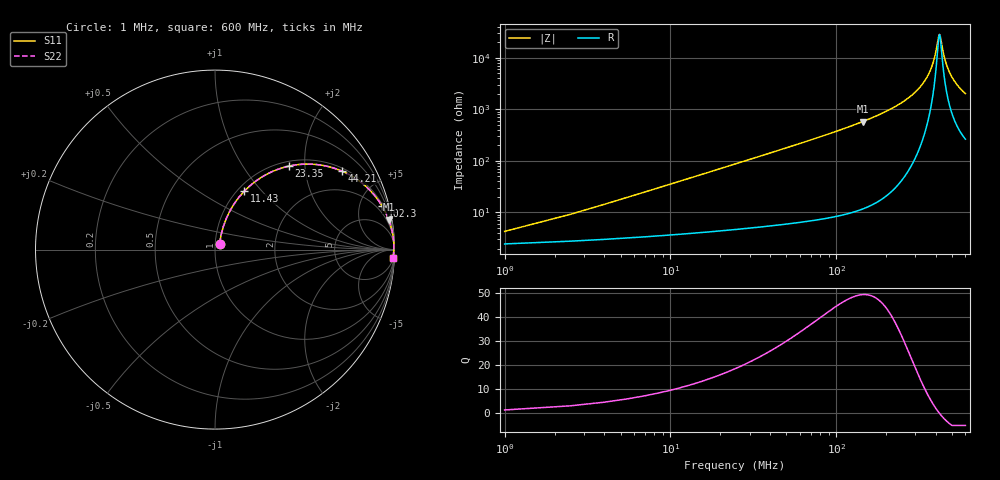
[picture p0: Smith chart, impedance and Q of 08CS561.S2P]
! Coilcraft 0805CS-561 Chip Inductor
! 11 June 2002
# MHZ S MA R 50
!Freq  MagS11  AngS11  MagS21  AngS21  MagS12  AngS12  MagS22  AngS22
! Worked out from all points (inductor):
!   404 points, 1 MHz to 600 MHz, reference 50 ohm
!   read as one part in series: L = 560 nH near 3.98 MHz
!   highest Q = 49.4 at 144 MHz (marker M1), where L = 635 nH
!   self-resonance near 418.2 MHz
!   S11 on the Smith chart (normalised r, x): 1 MHz: 1.05, +0.07; 11.43 MHz: 1.08, +0.80; 23.35 MHz: 1.09, +1.65; 44.21 MHz: 1.11, +3.15; 102.3 MHz: 1.17, +7.66; 600 MHz: 6, -40
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1  0.04185 53.1  0.9755 -2.0  0.9755 -2.0  0.04185 53.1
6.96  0.2328 68.9  0.9414 -13.3  0.9414 -13.3  0.2328 68.9
11.43  0.3632 63.4  0.8984 -21.2  0.8984 -21.2  0.3632 63.4
17.39  0.5082 55.6  0.8271 -30.5  0.8271 -30.5  0.5082 55.6
23.35  0.6199 48.6  0.751 -38.2  0.751 -38.2  0.6199 48.6
44.21  0.8306 31.8  0.5277 -56.1  0.5277 -56.1  0.8306 31.8
68.05  0.9176 21.9  0.373 -66.5  0.373 -66.5  0.9176 21.9
102.32  0.9623 14.6  0.2513 -74.2  0.2513 -74.2  0.9623 14.6
144.04  0.9819 9.8  0.1708 -79.0  0.1708 -79.0  0.9819 9.8
202.15  0.9918 6.1  0.107 -82.5  0.107 -82.5  0.9918 6.1
301.98  0.9965 2.6  0.04511 -84.3  0.04511 -84.3  0.9965 2.6
364.56  0.9969 1.1  0.01911 -80.1  0.01911 -80.1  0.9969 1.1
385.42  0.9968 0.6  0.01175 -73.8  0.01175 -73.8  0.9968 0.6
401.81  0.9966 0.3  0.006599 -59.3  0.006599 -59.3  0.9966 0.3
413.73  0.9965 0.1  0.003895 -26.5  0.003895 -26.5  0.9965 0.1
421.18  0.9964 -0.0  0.003636 10.4  0.003636 10.4  0.9964 -0.0
442.04  0.9961 -0.4  0.008145 61.4  0.008145 61.4  0.9961 -0.4
455.45  0.9959 -0.6  0.01191 69.6  0.01191 69.6  0.9959 -0.6
476.31  0.9955 -1.0  0.0178 74.9  0.0178 74.9  0.9955 -1.0
501.64  0.995 -1.4  0.02476 77.6  0.02476 77.6  0.995 -1.4
544.85  0.9939 -2.0  0.03606 79.2  0.03606 79.2  0.9939 -2.0
600  0.9923 -2.8  0.04954 79.6  0.04954 79.6  0.9923 -2.8
